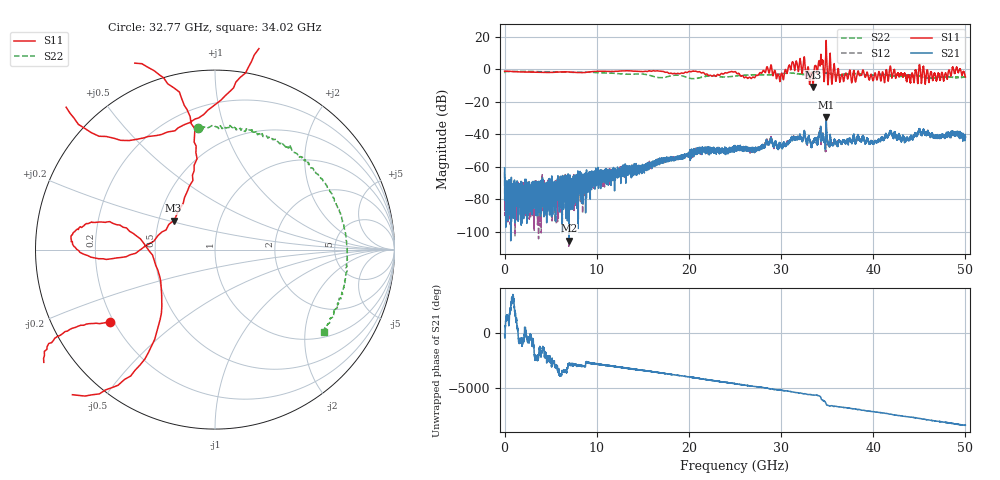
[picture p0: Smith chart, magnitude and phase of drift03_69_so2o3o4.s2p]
!Created with skrf (http://scikit-rf.org).
# Hz S RI R 50.0
!freq ReS11 ImS11 ReS21 ImS21 ReS12 ImS12 ReS22 ImS22
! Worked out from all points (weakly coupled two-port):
!   10001 points, 300 kHz to 50 GHz, reference 50 ohm
!   highest |S21| = -29.63 dB at 34.9 GHz (marker M1); lowest = -105.6 dB at 6.98 GHz (marker M2)
!   lowest |S11| = -11.0 dB at 33.47 GHz (marker M3), VSWR 1.78, Z = 29.9 + j10.4 ohm
!   |S11| at or under -10 dB: 33.44856 GHz to 33.48547 GHz (36.9 MHz wide, 0.11 % of centre)
!   |S22| runs from -5.9 to -1.3 dB; largest |S21 - S12| = 0.007
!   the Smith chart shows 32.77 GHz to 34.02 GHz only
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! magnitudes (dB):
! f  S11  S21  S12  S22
! 300 kHz  -1.3  -60.8  -63.4  -2.0
! 255.3 MHz  -1.3  -68.6  -73.2  -1.4
! 540.3 MHz  -1.4  -74.8  -79.8  -1.5
! 6.98 GHz  -1.7  -105.6  -75.5  -2.0
! 8.335 GHz  -2.2  -69.8  -74.6  -1.9
! 16.67 GHz  -1.1  -56.4  -56.8  -5.2
! 25 GHz  -1.5  -48.6  -48.0  -4.3
! 26.92 GHz  -4.9  -50.4  -48.7  -3.6
! 28.73 GHz  -2.2  -45.2  -46.4  -3.5
! 30.06 GHz  -2.5  -48.7  -48.1  -2.8
! 31.87 GHz  -1.4  -42.5  -41.7  -2.9
! 33.34 GHz  -2.2  -47.9  -47.3  -2.9
! 33.47 GHz  -11.0  -45.3  -44.9  -2.8
! 34.3 GHz  7.7  -35.1  -36.1  -2.3
! 34.9 GHz  17.6  -29.6  -30.6  -2.4
! 36.58 GHz  -3.5  -45.6  -45.9  -3.6
! 40.18 GHz  -2.4  -44.4  -44.2  -3.7
! 41.67 GHz  -5.4  -41.0  -40.3  -3.7
! 43.84 GHz  -3.5  -43.5  -44.0  -3.9
! 45.21 GHz  -7.5  -39.4  -38.9  -4.5
! 49.21 GHz  -2.1  -40.8  -39.5  -5.1
! 50 GHz  -4.8  -41.9  -42.1  -5.0
